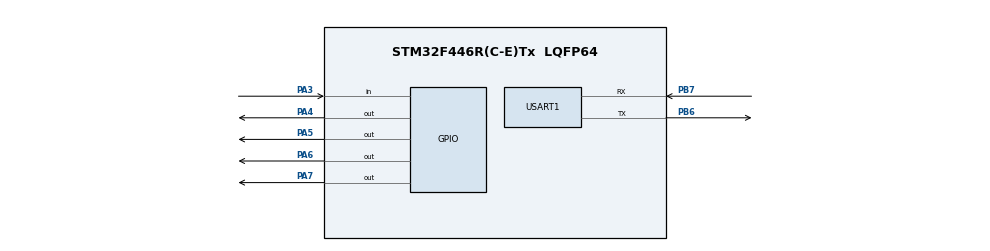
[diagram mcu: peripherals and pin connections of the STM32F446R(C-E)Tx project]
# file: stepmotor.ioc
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Mcu.Family=STM32F4
Mcu.Name=STM32F446R(C-E)Tx
Mcu.Package=LQFP64
NVIC.PriorityGroup=NVIC_PRIORITYGROUP_4
PA3.Signal=GPIO_Input
PA4.Signal=GPIO_Output
PA5.Signal=GPIO_Output
PA6.Signal=GPIO_Output
PA7.Signal=GPIO_Output
PB6.Mode=Asynchronous
PB6.Signal=USART1_TX
PB7.Mode=Asynchronous
PB7.Signal=USART1_RX
ProjectManager.HeapSize=0x200
ProjectManager.StackSize=0x400
ProjectManager.TargetToolchain=STM32CubeIDE
RCC.CortexFreq_Value=16000000
RCC.USBFreq_Value=96000000
RCC.VCOOutputFreq_Value=192000000
USART1.VirtualMode=VM_ASYNC
board=custom

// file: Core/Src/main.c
/* USER CODE BEGIN Header */
/**
  ******************************************************************************
  * @file           : main.c
  * @brief          : Main program body
  ******************************************************************************
  * @attention
  *
  * Copyright (c) 2023 STMicroelectronics.
  * All rights reserved.
  *
  * This software is licensed under terms that can be found in the LICENSE file
  * in the root directory of this software component.
  * If no LICENSE file comes with this software, it is provided AS-IS.
  *
  ******************************************************************************
  */
//hallo
/* USER CODE END Header */
#include "main.h"
#include "stepmotor.h"
#include "tools.h"
#include <stdlib.h>
#include <stdio.h>
#include <string.h>

UART_HandleTypeDef huart1;

void SystemClock_Config(void);
static void MX_GPIO_Init(void);
static void MX_USART1_UART_Init(void);

int main(void)
{

HAL_Init();

  SystemClock_Config();

   /* Initialize all configured peripherals */
  MX_GPIO_Init();
  MX_USART1_UART_Init();

  /* Infinite loop */
  /* USER CODE BEGIN WHILE */
  struct varstepmotor stepvalues;
  reset_varstepmotor(&stepvalues);

  uint8_t Test[] = "Hello World !!!\r\n"; //Data to send
//  uint16_t wert=0;
  uint16_t read=0;
  uint8_t buf=0;
  char text[6]={};
  int temp=0;
  //itoa(&stepvalues.steps,text,5);
  while (1)
  {

    /* USER CODE END WHILE */

    /* USER CODE BEGIN 3 */
	  //HAL_UART_Transmit(&huart1,Test,sizeof(Test),10);// Sending in normal mode
	  //memcpy(text,&stepvalues.steps,5);
	  HAL_Delay(5);
	  //HAL_UART_Transmit(&huart1,schritte,1,10);// Sending in normal mode
	  //HAL_UART_Transmit(&huart1,(uint8_t*)text,5,10);// Sending in normal mode
	  //sprintf(text,"%d",&stepvalues.steps);
	  HAL_Delay(5);
	  for(int i=0;i<6;i++)
	  {
		  text[i]='0';
	  }
	  //*text=itos(&stepvalues.steps);
	  //temp=stepvalues.steps;
	  sprintf(text,"%d",stepvalues.steps);
	  //strcpy(text,"123");
	  //*text=itos(123);
	  HAL_UART_Transmit(&huart1,text,5,20);// Sending in normal mode
	  HAL_Delay(2);
	  //wert=HAL_GPIO_ReadPin(GPIOA,GPIO_PIN_4);
	  //HAL_UART_Receive(&huart1,&UART1_rxBuffer,6,100);
	  HAL_UART_Receive(&huart1,&buf,1,10);
	  //while (HAL_UART_Receive_IT(&huart1,&buf, 12) != HAL_OK) HAL_Delay(10);
	  //HAL_UART_Receive_DMA(&huart1,&buf,12);2
	  if (buf != 0)
	  {
		  read=buf-48;
		  buf=0;
	  	  if (temp==0)
	  		  temp=2048;
	  }
	  //buf=0;
	  if (read==1)
	  {
		  if (temp>0)
		  {
			  stepvalues.stop=0;
			  moveOneStep(&stepvalues,read);
			  temp--;
		  }
	  }
	  if (read==2)
	  {
		  read=0;
		  stepvalues.stop=0;
		  moveOneStep(&stepvalues,read);
	  }
	  if (read==3)
	  {
		  stepvalues.stop=1;
		  moveOneStep(&stepvalues,read);
	  }

  }
  /* USER CODE END 3 */
}

void SystemClock_Config(void)
{
  RCC_OscInitTypeDef RCC_OscInitStruct = {0};
  RCC_ClkInitTypeDef RCC_ClkInitStruct = {0};

  /** Configure the main internal regulator output voltage
  */
  __HAL_RCC_PWR_CLK_ENABLE();
  __HAL_PWR_VOLTAGESCALING_CONFIG(PWR_REGULATOR_VOLTAGE_SCALE3);

  /** Initializes the RCC Oscillators according to the specified parameters
  * in the RCC_OscInitTypeDef structure.
  */
  RCC_OscInitStruct.OscillatorType = RCC_OSCILLATORTYPE_HSI;
  RCC_OscInitStruct.HSIState = RCC_HSI_ON;
  RCC_OscInitStruct.HSICalibrationValue = RCC_HSICALIBRATION_DEFAULT;
  RCC_OscInitStruct.PLL.PLLState = RCC_PLL_NONE;
  if (HAL_RCC_OscConfig(&RCC_OscInitStruct) != HAL_OK)
  {
    Error_Handler();
  }

  /** Initializes the CPU, AHB and APB buses clocks
  */
  RCC_ClkInitStruct.ClockType = RCC_CLOCKTYPE_HCLK|RCC_CLOCKTYPE_SYSCLK
                              |RCC_CLOCKTYPE_PCLK1|RCC_CLOCKTYPE_PCLK2;
  RCC_ClkInitStruct.SYSCLKSource = RCC_SYSCLKSOURCE_HSI;
  RCC_ClkInitStruct.AHBCLKDivider = RCC_SYSCLK_DIV1;
  RCC_ClkInitStruct.APB1CLKDivider = RCC_HCLK_DIV1;
  RCC_ClkInitStruct.APB2CLKDivider = RCC_HCLK_DIV1;

  if (HAL_RCC_ClockConfig(&RCC_ClkInitStruct, FLASH_LATENCY_0) != HAL_OK)
  {
    Error_Handler();
  }
}

static void MX_USART1_UART_Init(void)
{

  huart1.Instance = USART1;
  huart1.Init.BaudRate = 115200;
  huart1.Init.WordLength = UART_WORDLENGTH_8B;
  huart1.Init.StopBits = UART_STOPBITS_1;
  huart1.Init.Parity = UART_PARITY_NONE;
  huart1.Init.Mode = UART_MODE_TX_RX;
  huart1.Init.HwFlowCtl = UART_HWCONTROL_NONE;
  huart1.Init.OverSampling = UART_OVERSAMPLING_16;
  if (HAL_UART_Init(&huart1) != HAL_OK)
  {
    Error_Handler();
  }

}

static void MX_GPIO_Init(void)
{
  GPIO_InitTypeDef GPIO_InitStruct = {0};

  /* GPIO Ports Clock Enable */
  __HAL_RCC_GPIOA_CLK_ENABLE();
  __HAL_RCC_GPIOB_CLK_ENABLE();

  /*Configure GPIO pin Output Level */
  HAL_GPIO_WritePin(GPIOA, GPIO_PIN_4|GPIO_PIN_5|GPIO_PIN_6|GPIO_PIN_7, GPIO_PIN_RESET);

  /*Configure GPIO pin : PA3 */
  GPIO_InitStruct.Pin = GPIO_PIN_3;
  GPIO_InitStruct.Mode = GPIO_MODE_INPUT;
  GPIO_InitStruct.Pull = GPIO_NOPULL;
  HAL_GPIO_Init(GPIOA, &GPIO_InitStruct);

  /*Configure GPIO pins : PA4 PA5 PA6 PA7 */
  GPIO_InitStruct.Pin = GPIO_PIN_4|GPIO_PIN_5|GPIO_PIN_6|GPIO_PIN_7;
  GPIO_InitStruct.Mode = GPIO_MODE_OUTPUT_PP;
  GPIO_InitStruct.Pull = GPIO_NOPULL;
  GPIO_InitStruct.Speed = GPIO_SPEED_FREQ_LOW;
  HAL_GPIO_Init(GPIOA, &GPIO_InitStruct);

}

void Error_Handler(void)
{
  __disable_irq();
  while (1)
  {
  }
}
